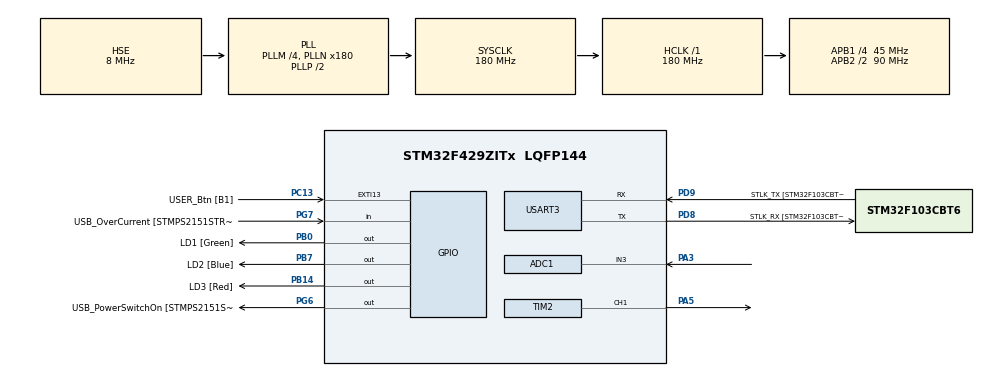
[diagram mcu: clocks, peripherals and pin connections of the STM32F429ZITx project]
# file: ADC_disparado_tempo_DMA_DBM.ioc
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ADC1.Channel-1\#ChannelRegularConversion=ADC_CHANNEL_3
ADC1.ClockPrescaler=ADC_CLOCK_SYNC_PCLK_DIV4
ADC1.ContinuousConvMode=DISABLE
ADC1.DMAContinuousRequests=ENABLE
ADC1.EOCSelection=ADC_EOC_SEQ_CONV
ADC1.EnableAnalogWatchDog=false
ADC1.ExternalTrigConv=ADC_EXTERNALTRIGCONV_T3_TRGO
ADC1.InjNumberOfConversion=0
ADC1.NbrOfConversion=1
ADC1.NbrOfConversionFlag=1
ADC1.Rank-1\#ChannelRegularConversion=1
ADC1.SamplingTime-1\#ChannelRegularConversion=ADC_SAMPLETIME_3CYCLES
ADC1.master=1
Dma.ADC1.0.Direction=DMA_PERIPH_TO_MEMORY
Dma.ADC1.0.FIFOMode=DMA_FIFOMODE_DISABLE
Dma.ADC1.0.Instance=DMA2_Stream0
Dma.ADC1.0.MemDataAlignment=DMA_MDATAALIGN_HALFWORD
Dma.ADC1.0.MemInc=DMA_MINC_ENABLE
Dma.ADC1.0.Mode=DMA_NORMAL
Dma.ADC1.0.PeriphDataAlignment=DMA_PDATAALIGN_HALFWORD
Dma.ADC1.0.PeriphInc=DMA_PINC_DISABLE
Dma.ADC1.0.Priority=DMA_PRIORITY_VERY_HIGH
Dma.Request0=ADC1
Mcu.Family=STM32F4
Mcu.Name=STM32F429ZITx
Mcu.Package=LQFP144
NVIC.ADC_IRQn=true\:0\:0\:false\:false\:true\:true\:true\:true
NVIC.DMA2_Stream0_IRQn=true\:0\:0\:false\:false\:true\:false\:true\:true
NVIC.PriorityGroup=NVIC_PRIORITYGROUP_4
PA1.GPIO_Label=RMII_REF_CLK [LAN8742A-CZ-TR_REFCLK0]
PA1.Signal=ETH_REF_CLK
PA10.GPIO_Label=USB_ID
PA10.Signal=USB_OTG_FS_ID
PA11.GPIO_Label=USB_DM
PA11.Signal=USB_OTG_FS_DM
PA12.GPIO_Label=USB_DP
PA12.Signal=USB_OTG_FS_DP
PA13.GPIO_Label=TMS
PA13.Mode=Serial_Wire
PA13.Signal=SYS_JTMS-SWDIO
PA14.GPIO_Label=TCK
PA14.Mode=Serial_Wire
PA14.Signal=SYS_JTCK-SWCLK
PA2.GPIO_Label=RMII_MDIO [LAN8742A-CZ-TR_MDIO]
PA2.Signal=ETH_MDIO
PA3.Signal=ADCx_IN3
PA5.Signal=S_TIM2_CH1_ETR
PA7.GPIO_Label=RMII_CRS_DV [LAN8742A-CZ-TR_CRS_DV]
PA7.Signal=ETH_CRS_DV
PA8.GPIO_Label=USB_SOF [TP1]
PA8.Signal=USB_OTG_FS_SOF
PA9.GPIO_Label=USB_VBUS
PA9.Signal=USB_OTG_FS_VBUS
PB0.GPIO_Label=LD1 [Green]
PB0.Signal=GPIO_Output
PB13.GPIO_Label=RMII_TXD1 [LAN8742A-CZ-TR_TXD1]
PB13.Signal=ETH_TXD1
PB14.GPIO_Label=LD3 [Red]
PB14.Signal=GPIO_Output
PB7.GPIO_Label=LD2 [Blue]
PB7.Signal=GPIO_Output
PC1.GPIO_Label=RMII_MDC [LAN8742A-CZ-TR_MDC]
PC1.Signal=ETH_MDC
PC13.GPIO_Label=USER_Btn [B1]
PC13.Signal=GPXTI13
PC14/OSC32_IN.Mode=LSE-External-Oscillator
PC14/OSC32_IN.Signal=RCC_OSC32_IN
PC15/OSC32_OUT.Mode=LSE-External-Oscillator
PC15/OSC32_OUT.Signal=RCC_OSC32_OUT
PC4.GPIO_Label=RMII_RXD0 [LAN8742A-CZ-TR_RXD0]
PC4.Signal=ETH_RXD0
PC5.GPIO_Label=RMII_RXD1 [LAN8742A-CZ-TR_RXD1]
PC5.Signal=ETH_RXD1
PD8.GPIO_Label=STLK_RX [STM32F103CBT6_PA3]
PD8.Mode=Asynchronous
PD8.Signal=USART3_TX
PD9.GPIO_Label=STLK_TX [STM32F103CBT6_PA2]
PD9.Mode=Asynchronous
PD9.Signal=USART3_RX
PG11.GPIO_Label=RMII_TX_EN [LAN8742A-CZ-TR_TXEN]
PG11.Signal=ETH_TX_EN
PG13.GPIO_Label=RMII_TXD0 [LAN8742A-CZ-TR_TXD0]
PG13.Signal=ETH_TXD0
PG6.GPIO_Label=USB_PowerSwitchOn [STMPS2151STR_EN]
PG6.Signal=GPIO_Output
PG7.GPIO_Label=USB_OverCurrent [STMPS2151STR_FAULT]
PG7.Signal=GPIO_Input
PH0/OSC_IN.GPIO_Label=MCO [STM32F103CBT6_PA8]
PH0/OSC_IN.Mode=HSE-External-Oscillator
PH0/OSC_IN.Signal=RCC_OSC_IN
PH1/OSC_OUT.Mode=HSE-External-Oscillator
PH1/OSC_OUT.Signal=RCC_OSC_OUT
ProjectManager.HeapSize=0x200
ProjectManager.StackSize=0x400
ProjectManager.TargetToolchain=STM32CubeIDE
RCC.48MHZClocksFreq_Value=51428571.428571425
RCC.AHBFreq_Value=180000000
RCC.APB1CLKDivider=RCC_HCLK_DIV4
RCC.APB1Freq_Value=45000000
RCC.APB1TimFreq_Value=90000000
RCC.APB2CLKDivider=RCC_HCLK_DIV2
RCC.APB2Freq_Value=90000000
RCC.APB2TimCLKDivider=2
RCC.APB2TimFreq_Value=180000000
RCC.CortexFreq_Value=180000000
RCC.HCLKFreq_Value=180000000
RCC.HSE_VALUE=8000000
RCC.HSI_VALUE=16000000
RCC.PLLM=4
RCC.PLLMUL=RCC_PLL_MUL9
RCC.PLLN=180
RCC.PLLQ=7
RCC.PLLSourceVirtual=RCC_PLLSOURCE_HSE
RCC.PRESCALERUSB=RCC_USBCLKSOURCE_PLL_DIV1_5
RCC.SYSCLKFreq_VALUE=180000000
RCC.SYSCLKSource=RCC_SYSCLKSOURCE_PLLCLK
RCC.SYSCLKSourceVirtual=RCC_SYSCLKSOURCE_PLLCLK
RCC.USBFreq_Value=48000000
RCC.VCOOutputFreq_Value=360000000
SH.ADCx_IN3.0=ADC1_IN3,IN3
SH.S_TIM2_CH1_ETR.0=TIM2_CH1,PWM Generation1 CH1
TIM2.AutoReloadPreload=TIM_AUTORELOAD_PRELOAD_ENABLE
TIM2.Channel-PWM\ Generation1\ CH1=TIM_CHANNEL_1
TIM2.Period=65535
TIM2.Prescaler=1
TIM3.AutoReloadPreload=TIM_AUTORELOAD_PRELOAD_ENABLE
TIM3.Period=299
TIM3.Prescaler=29
TIM3.TIM_MasterOutputTrigger=TIM_TRGO_UPDATE
USART3.VirtualMode=VM_ASYNC
VP_TIM2_VS_ClockSourceINT.Mode=Internal
VP_TIM3_VS_ClockSourceINT.Mode=Internal
board=NUCLEO-F429ZI

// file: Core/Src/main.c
/* USER CODE BEGIN Header */
/**
  ******************************************************************************
  * @file           : main.c
  * @brief          : Ejemplo de ADC continuo solicitado por encuesta
  *                   (No veo diferencia entre continuo y único)
  ******************************************************************************
  *
  * El ejemplo se desarrolló en base a:
  * https://deepbluembedded.com/stm32-adc-read-example-dma-interrupt-polling/
  *
  ******************************************************************************
  */
/* USER CODE END Header */
#include "main.h"
#include "adc.h"
#include "dma.h"
#include "tim.h"
#include "usart.h"
#include "gpio.h"

/* USER CODE BEGIN Includes */
#include "uOSAL.h"

/* USER CODE END Includes */

/* USER CODE BEGIN PM */
#define DELTA    1000
#define MUESTRAS 20

/* USER CODE END PM */

/* USER CODE BEGIN PV */
uint16_t AD_RES [MUESTRAS] = {0}; //0;
uint32_t PROMEDIO = 0;
volatile uint32_t Num_Conversiones = 0;
bool     Escribimos = false;
bool     Nueva_Lectura = false;

/* USER CODE END PV */

void SystemClock_Config(void);
/* USER CODE BEGIN PFP */
void EscribirDatos(uint32_t);
/* USER CODE END PFP */

int main(void)
{

  /* MCU Configuration--------------------------------------------------------*/

  /* Reset of all peripherals, Initializes the Flash interface and the Systick. */
  HAL_Init();

  /* Configure the system clock */
  SystemClock_Config();

  /* Initialize all configured peripherals */
  MX_GPIO_Init();
  MX_DMA_Init();
  MX_USART3_UART_Init();
  MX_ADC1_Init();
  MX_TIM2_Init();
  MX_TIM3_Init();
  /* USER CODE BEGIN 2 */
  //-----------------------------------------------------------------------------------------------
  uint32_t Tiempo_ms = 0;
  uartInit();

  GPIO_InitTypeDef  GPIO_InitStruct;
  GPIO_InitStruct.Pin = GPIO_PIN_0;
  GPIO_InitStruct.Mode = GPIO_MODE_OUTPUT_PP;
  GPIO_InitStruct.Pull = GPIO_NOPULL;
  GPIO_InitStruct.Speed = GPIO_SPEED_FAST;
  HAL_GPIO_Init(GPIOA, &GPIO_InitStruct);

  uEscribirTexto ("\n\r-----------------------------------------------------------------------------");
  uEscribirTexto ("\n\rADC disparado por trigger con DMA (marzo 2024)");
  uEscribirTexto ("\n\r-----------------------------------------------------------------------------");

  HAL_TIM_PWM_Start(&htim2, TIM_CHANNEL_1);
  HAL_TIM_Base_Start(&htim3); // Start Timer3 (Trigger Source For ADC1)
  //HAL_ADC_Start_IT(&hadc1);   // Start ADC Conversion

  Tiempo_ms = uOSALmiliseg ();
  HAL_ADC_Start_DMA(&hadc1, (uint32_t *) AD_RES, MUESTRAS);  // Inicia la conversión continua del ADC

  //-----------------------------------------------------------------------------------------------
  /* USER CODE END 2 */

  /* Infinite loop */
  while (1)
  {

    /* USER CODE BEGIN 3 */
	//---------------------------------------------------------------------------------------------
	//TIM2->CCR1 = (AD_RES<<4); // Update The PWM Duty Cycle With Latest ADC Conversion Result

	if (Nueva_Lectura) {
		Nueva_Lectura = false;
		PROMEDIO = 0;
		for (int j=0; j<MUESTRAS; j++) {
					PROMEDIO += AD_RES[j];
		}
		PROMEDIO = PROMEDIO / MUESTRAS;
		TIM2->CCR1 = ( (PROMEDIO & 0xFFFF) <<4 ); // Salida PWM
		EscribirDatos(Num_Conversiones);
	}

	// Evalúo si envío a UART
	/*if ( Num_Conversiones == 1 && !Escribimos) {
		EscribirDatos(Num_Conversiones);
		Escribimos = true;
	}*/

	if (uOSALmiliseg()-Tiempo_ms > DELTA)  {
		HAL_ADC_Start_DMA(&hadc1, (uint32_t *) AD_RES, MUESTRAS);
		Tiempo_ms += DELTA;
	}

  }
  //-----------------------------------------------------------------------------------------------
  /* USER CODE END 3 */
}

void SystemClock_Config(void)
{
  RCC_OscInitTypeDef RCC_OscInitStruct = {0};
  RCC_ClkInitTypeDef RCC_ClkInitStruct = {0};

  /** Configure the main internal regulator output voltage
  */
  __HAL_RCC_PWR_CLK_ENABLE();
  __HAL_PWR_VOLTAGESCALING_CONFIG(PWR_REGULATOR_VOLTAGE_SCALE1);

  /** Initializes the RCC Oscillators according to the specified parameters
  * in the RCC_OscInitTypeDef structure.
  */
  RCC_OscInitStruct.OscillatorType = RCC_OSCILLATORTYPE_HSE;
  RCC_OscInitStruct.HSEState = RCC_HSE_ON;
  RCC_OscInitStruct.PLL.PLLState = RCC_PLL_ON;
  RCC_OscInitStruct.PLL.PLLSource = RCC_PLLSOURCE_HSE;
  RCC_OscInitStruct.PLL.PLLM = 4;
  RCC_OscInitStruct.PLL.PLLN = 180;
  RCC_OscInitStruct.PLL.PLLP = RCC_PLLP_DIV2;
  RCC_OscInitStruct.PLL.PLLQ = 7;
  if (HAL_RCC_OscConfig(&RCC_OscInitStruct) != HAL_OK)
  {
    Error_Handler();
  }

  /** Activate the Over-Drive mode
  */
  if (HAL_PWREx_EnableOverDrive() != HAL_OK)
  {
    Error_Handler();
  }

  /** Initializes the CPU, AHB and APB buses clocks
  */
  RCC_ClkInitStruct.ClockType = RCC_CLOCKTYPE_HCLK|RCC_CLOCKTYPE_SYSCLK
                              |RCC_CLOCKTYPE_PCLK1|RCC_CLOCKTYPE_PCLK2;
  RCC_ClkInitStruct.SYSCLKSource = RCC_SYSCLKSOURCE_PLLCLK;
  RCC_ClkInitStruct.AHBCLKDivider = RCC_SYSCLK_DIV1;
  RCC_ClkInitStruct.APB1CLKDivider = RCC_HCLK_DIV4;
  RCC_ClkInitStruct.APB2CLKDivider = RCC_HCLK_DIV2;

  if (HAL_RCC_ClockConfig(&RCC_ClkInitStruct, FLASH_LATENCY_5) != HAL_OK)
  {
    Error_Handler();
  }
}

/* USER CODE BEGIN 4 */

void HAL_ADC_ConvCpltCallback(ADC_HandleTypeDef* hadc)
{
	HAL_GPIO_WritePin(GPIOA, GPIO_PIN_0, GPIO_PIN_RESET);
	Num_Conversiones++;
	Nueva_Lectura = true;

	//HAL_GPIO_TogglePin(GPIOA, GPIO_PIN_0);
	//AD_RES = HAL_ADC_GetValue(&hadc1);
	// for (int i=0; i< 0x6FF; i++) { 		}
	//HAL_GPIO_WritePin(GPIOA, GPIO_PIN_0, GPIO_PIN_RESET);
}

void HAL_ADC_ConvHalfCpltCallback(ADC_HandleTypeDef* hadc)
{
	HAL_GPIO_WritePin(GPIOA, GPIO_PIN_0, GPIO_PIN_SET);
}

void EscribirDatos(uint32_t Actual)
{
	//static uint32_t Anterior = 0;
	uEscribirTextoEnteroSS ("\n\r\n\rLectura # ", Actual);
	//uEscribirTextoEnteroSS (" (Frecuencia de Muestreo = ", (Actual-Anterior) * MUESTRAS / DELTA);
	//uEscribirTexto (" kHz)\n\r");
	uEscribirTexto (" \n\r");

	int j=0;
	for (int i=0; i<MUESTRAS; i++) {
		if (j>=10) {
			uEscribirTexto ("\n\r");
			j=0;
		}
		uEscribirEnteroSS ( AD_RES[i] & 0xFFFF );
		uEscribirTexto ("; ");
		j++;
	}

	uEscribirTextoEnteroSS ("\n\rPromedio = ", PROMEDIO);
	//Anterior = Actual;
}

/* USER CODE END 4 */

void Error_Handler(void)
{
  __disable_irq();
  while (1)
  {
  }
}
